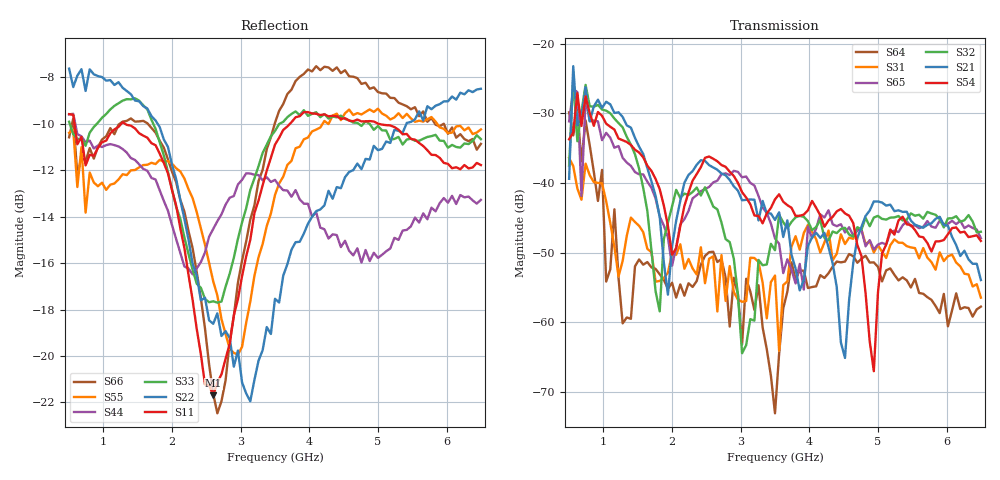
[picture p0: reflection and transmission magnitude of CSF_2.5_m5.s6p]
!Keysight Technologies,M9804A,MY58100912,A.14.10.03
!Date: Thursday, April 27, 2023 10:28:33
!Correction: S11(C  6-Port  )
!S12(C  6-Port  )
!S13(C  6-Port  )
!S14(C  6-Port  )
!S15(C  6-Port  )
!S16(C  6-Port  )
!S21(C  6-Port  )
!S22(C  6-Port  )
!S23(C  6-Port  )
!S24(C  6-Port  )
!S25(C  6-Port  )
!S26(C  6-Port  )
!S31(C  6-Port  )
!S32(C  6-Port  )
!S33(C  6-Port  )
!S34(C  6-Port  )
!S35(C  6-Port  )
!S36(C  6-Port  )
!S41(C  6-Port  )
!S42(C  6-Port  )
!S43(C  6-Port  )
!S44(C  6-Port  )
!S45(C  6-Port  )
!S46(C  6-Port  )
!S51(C  6-Port  )
!S52(C  6-Port  )
!S53(C  6-Port  )
!S54(C  6-Port  )
!S55(C  6-Port  )
!S56(C  6-Port  )
!S61(C  6-Port  )
!S62(C  6-Port  )
!S63(C  6-Port  )
!S64(C  6-Port  )
!S65(C  6-Port  )
!S66(C  6-Port  )
!S6P File: Measurement: :
# Hz S  RI  R 50
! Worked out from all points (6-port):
!   101 points, 500 MHz to 6.5 GHz, reference 50 ohm
!   strongest paths, dB at 500 MHz, 2 GHz, 3.5 GHz, 5 GHz, 6.5 GHz:
!     S54: -33.7, -50.3, -42.3, -55.8, -48.3
!     S21: -39.4, -49.1, -45.3, -42.7, -53.9
!     S32: -37.5, -43.4, -49.7, -44.7, -47.0
!     S65: -31.2, -51.9, -48.0, -48.8, -47.9
!     S31: -36.4, -50.1, -53.3, -48.9, -56.5
!     S64: -29.9, -54.3, -73.1, -52.0, -57.8
!   lowest |S11| = -21.7 dB at 2.6 GHz (marker M1), VSWR 1.18, Z = 42.7 + j2.09 ohm
!   |S11| at or under -10 dB: 578.2 MHz to 1.26 GHz (681.3 MHz wide, 74.1 % of centre); 1.316 GHz to 3.717 GHz (2.401 GHz wide, 95.4 % of centre); 5.012 GHz to end of sweep
